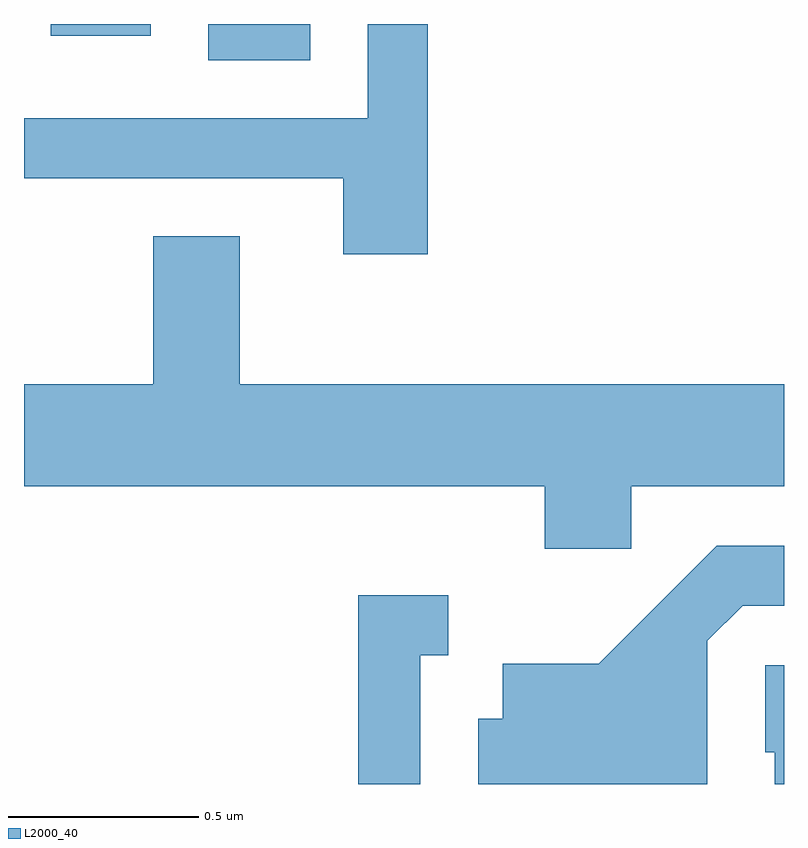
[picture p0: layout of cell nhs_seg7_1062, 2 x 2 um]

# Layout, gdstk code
import gdstk
lib = gdstk.Library(unit=1e-6, precision=1e-09)
def R(c, l, rs):  # rectangles x0, y0, x1, y1
    for r in rs: c.add(gdstk.rectangle(r[:2], r[2:], *l))
def P(c, l, *ps):  # polygons
    for p in ps: c.add(gdstk.Polygon(p, *l))
L2000_40 = (2000, 40)

nhs_seg7_1062 = lib.new_cell('nhs_seg7_1062')
R(nhs_seg7_1062, L2000_40, [(193.096,1773.156,193.364,1773.252), (192.681,1773.221,192.944,1773.252)])
P(nhs_seg7_1062, L2000_40, [(193.674,1773.252),(193.516,1773.252),(193.516,1773.004),(192.611,1773.004),(192.611,1772.846),(193.451,1772.846),(193.451,1772.646),(193.674,1772.646)],
  [(194.209,1772.036),(194.611,1772.036),(194.611,1772.304),(193.179,1772.304),(193.179,1772.694),(192.951,1772.694),(192.951,1772.304),(192.611,1772.304),(192.611,1772.036),(193.981,1772.036),(193.981,1771.871),(194.209,1771.871)],
  [(194.409,1771.629),(194.502,1771.721),(194.611,1771.721),(194.611,1771.879),(194.434,1771.879),(194.124,1771.569),(193.871,1771.569),(193.871,1771.424),(193.806,1771.424),(193.806,1771.252),(194.409,1771.252)],
  [(193.654,1771.591),(193.728,1771.591),(193.728,1771.749),(193.491,1771.749),(193.491,1771.252),(193.654,1771.252)],
  [(194.611,1771.564),(194.561,1771.564),(194.561,1771.336),(194.586,1771.336),(194.586,1771.252),(194.611,1771.252)])

lib.write_gds('nhs_seg7_1062.gds')
